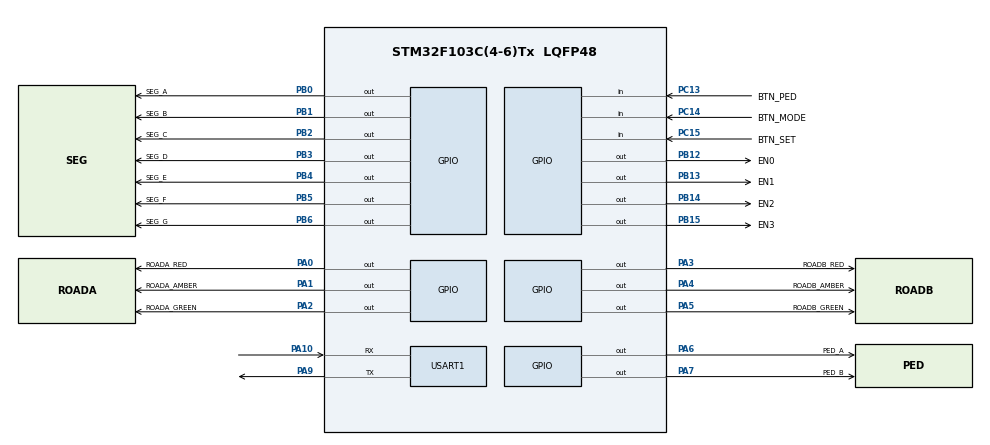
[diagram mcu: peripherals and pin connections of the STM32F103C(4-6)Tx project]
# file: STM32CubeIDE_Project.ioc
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Mcu.Family=STM32F1
Mcu.Name=STM32F103C(4-6)Tx
Mcu.Package=LQFP48
NVIC.PriorityGroup=NVIC_PRIORITYGROUP_4
NVIC.TIM2_IRQn=true\:0\:0\:false\:false\:true\:true\:true\:true
NVIC.USART1_IRQn=true\:0\:0\:false\:false\:true\:true\:true\:true
PA0-WKUP.GPIO_Label=ROADA_RED
PA0-WKUP.Signal=GPIO_Output
PA1.GPIO_Label=ROADA_AMBER
PA1.Signal=GPIO_Output
PA10.Mode=Asynchronous
PA10.Signal=USART1_RX
PA2.GPIO_Label=ROADA_GREEN
PA2.Signal=GPIO_Output
PA3.GPIO_Label=ROADB_RED
PA3.Signal=GPIO_Output
PA4.GPIO_Label=ROADB_AMBER
PA4.Signal=GPIO_Output
PA5.GPIO_Label=ROADB_GREEN
PA5.Signal=GPIO_Output
PA6.GPIO_Label=PED_A
PA6.Signal=GPIO_Output
PA7.GPIO_Label=PED_B
PA7.Signal=GPIO_Output
PA9.Mode=Asynchronous
PA9.Signal=USART1_TX
PB0.GPIO_Label=SEG_A
PB0.PinState=GPIO_PIN_SET
PB0.Signal=GPIO_Output
PB1.GPIO_Label=SEG_B
PB1.PinState=GPIO_PIN_SET
PB1.Signal=GPIO_Output
PB12.GPIO_Label=EN0
PB12.PinState=GPIO_PIN_SET
PB12.Signal=GPIO_Output
PB13.GPIO_Label=EN1
PB13.PinState=GPIO_PIN_SET
PB13.Signal=GPIO_Output
PB14.GPIO_Label=EN2
PB14.PinState=GPIO_PIN_SET
PB14.Signal=GPIO_Output
PB15.GPIO_Label=EN3
PB15.PinState=GPIO_PIN_SET
PB15.Signal=GPIO_Output
PB2.GPIO_Label=SEG_C
PB2.PinState=GPIO_PIN_SET
PB2.Signal=GPIO_Output
PB3.GPIO_Label=SEG_D
PB3.PinState=GPIO_PIN_SET
PB3.Signal=GPIO_Output
PB4.GPIO_Label=SEG_E
PB4.PinState=GPIO_PIN_SET
PB4.Signal=GPIO_Output
PB5.GPIO_Label=SEG_F
PB5.PinState=GPIO_PIN_SET
PB5.Signal=GPIO_Output
PB6.GPIO_Label=SEG_G
PB6.PinState=GPIO_PIN_SET
PB6.Signal=GPIO_Output
PC13-TAMPER-RTC.GPIO_Label=BTN_PED
PC13-TAMPER-RTC.GPIO_PuPd=GPIO_PULLUP
PC13-TAMPER-RTC.Signal=GPIO_Input
PC14-OSC32_IN.GPIO_Label=BTN_MODE
PC14-OSC32_IN.GPIO_PuPd=GPIO_PULLUP
PC14-OSC32_IN.Signal=GPIO_Input
PC15-OSC32_OUT.GPIO_Label=BTN_SET
PC15-OSC32_OUT.GPIO_PuPd=GPIO_PULLUP
PC15-OSC32_OUT.Signal=GPIO_Input
ProjectManager.HeapSize=0x200
ProjectManager.StackSize=0x400
ProjectManager.TargetToolchain=STM32CubeIDE
RCC.APB1Freq_Value=8000000
RCC.APB2Freq_Value=8000000
TIM2.Prescaler=7999
USART1.VirtualMode=VM_ASYNC
VP_SYS_VS_ND.Mode=No_Debug
VP_TIM2_VS_ClockSourceINT.Mode=Internal
board=custom

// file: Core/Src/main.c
/* USER CODE BEGIN Header */
/**
  ******************************************************************************
  * @file           : main.c
  * @brief          : Main program body
  ******************************************************************************
  * @attention
  *
  * Copyright (c) 2026 STMicroelectronics.
  * All rights reserved.
  *
  * This software is licensed under terms that can be found in the LICENSE file
  * in the root directory of this software component.
  * If no LICENSE file comes with this software, it is provided AS-IS.
  *
  ******************************************************************************
  */
/* USER CODE END Header */
#include "main.h"

/* USER CODE BEGIN Includes */
/* USER CODE BEGIN Includes */
#include "global.h"
#include "software_timer.h"
#include "led_display.h"
#include "input_reading.h"
#include "fsm_traffic.h"
#include "uart_comm.h"
/* USER CODE END Includes */
/* USER CODE END Includes */

TIM_HandleTypeDef htim2;

UART_HandleTypeDef huart1;

void SystemClock_Config(void);
static void MX_GPIO_Init(void);
static void MX_TIM2_Init(void);
static void MX_USART1_UART_Init(void);

int main(void)
{

  /* MCU Configuration--------------------------------------------------------*/

  /* Reset of all peripherals, Initializes the Flash interface and the Systick. */
  HAL_Init();

  /* Configure the system clock */
  SystemClock_Config();

  /* Initialize all configured peripherals */
  MX_GPIO_Init();
  MX_TIM2_Init();
  MX_USART1_UART_Init();
  /* USER CODE BEGIN 2 */
  	HAL_TIM_Base_Start_IT(&htim2);
    HAL_UART_Receive_IT(&huart2, &temp_rx, 1); // Hoặc &huart1 nếu cấu hình USART1 trên PA9/PA10
    setTimer(2, 250); // Khởi động timer quét LED 7 đoạn
  /* USER CODE END 2 */

  /* Infinite loop */
  /* USER CODE BEGIN WHILE */
  while (1)
  {
	  if (buffer_flag == 1) {
	            command_parser_fsm();
	            buffer_flag = 0;
	        }

	        fsm_for_mode();

	        if (systemMode == MODE_NORMAL) {
	            fsm_for_light_cycle();
	        }
    /* USER CODE END WHILE */

  }
}

void SystemClock_Config(void)
{
  RCC_OscInitTypeDef RCC_OscInitStruct = {0};
  RCC_ClkInitTypeDef RCC_ClkInitStruct = {0};

  /** Initializes the RCC Oscillators according to the specified parameters
  * in the RCC_OscInitTypeDef structure.
  */
  RCC_OscInitStruct.OscillatorType = RCC_OSCILLATORTYPE_HSI;
  RCC_OscInitStruct.HSIState = RCC_HSI_ON;
  RCC_OscInitStruct.HSICalibrationValue = RCC_HSICALIBRATION_DEFAULT;
  RCC_OscInitStruct.PLL.PLLState = RCC_PLL_NONE;
  if (HAL_RCC_OscConfig(&RCC_OscInitStruct) != HAL_OK)
  {
    Error_Handler();
  }

  /** Initializes the CPU, AHB and APB buses clocks
  */
  RCC_ClkInitStruct.ClockType = RCC_CLOCKTYPE_HCLK|RCC_CLOCKTYPE_SYSCLK
                              |RCC_CLOCKTYPE_PCLK1|RCC_CLOCKTYPE_PCLK2;
  RCC_ClkInitStruct.SYSCLKSource = RCC_SYSCLKSOURCE_HSI;
  RCC_ClkInitStruct.AHBCLKDivider = RCC_SYSCLK_DIV1;
  RCC_ClkInitStruct.APB1CLKDivider = RCC_HCLK_DIV1;
  RCC_ClkInitStruct.APB2CLKDivider = RCC_HCLK_DIV1;

  if (HAL_RCC_ClockConfig(&RCC_ClkInitStruct, FLASH_LATENCY_0) != HAL_OK)
  {
    Error_Handler();
  }
}

static void MX_TIM2_Init(void)
{

  TIM_ClockConfigTypeDef sClockSourceConfig = {0};
  TIM_MasterConfigTypeDef sMasterConfig = {0};

  htim2.Instance = TIM2;
  htim2.Init.Prescaler = 7999;
  htim2.Init.CounterMode = TIM_COUNTERMODE_UP;
  htim2.Init.Period = 65535;
  htim2.Init.ClockDivision = TIM_CLOCKDIVISION_DIV1;
  htim2.Init.AutoReloadPreload = TIM_AUTORELOAD_PRELOAD_DISABLE;
  if (HAL_TIM_Base_Init(&htim2) != HAL_OK)
  {
    Error_Handler();
  }
  sClockSourceConfig.ClockSource = TIM_CLOCKSOURCE_INTERNAL;
  if (HAL_TIM_ConfigClockSource(&htim2, &sClockSourceConfig) != HAL_OK)
  {
    Error_Handler();
  }
  sMasterConfig.MasterOutputTrigger = TIM_TRGO_RESET;
  sMasterConfig.MasterSlaveMode = TIM_MASTERSLAVEMODE_DISABLE;
  if (HAL_TIMEx_MasterConfigSynchronization(&htim2, &sMasterConfig) != HAL_OK)
  {
    Error_Handler();
  }

}

static void MX_USART1_UART_Init(void)
{

  huart1.Instance = USART1;
  huart1.Init.BaudRate = 115200;
  huart1.Init.WordLength = UART_WORDLENGTH_8B;
  huart1.Init.StopBits = UART_STOPBITS_1;
  huart1.Init.Parity = UART_PARITY_NONE;
  huart1.Init.Mode = UART_MODE_TX_RX;
  huart1.Init.HwFlowCtl = UART_HWCONTROL_NONE;
  huart1.Init.OverSampling = UART_OVERSAMPLING_16;
  if (HAL_UART_Init(&huart1) != HAL_OK)
  {
    Error_Handler();
  }

}

static void MX_GPIO_Init(void)
{
  GPIO_InitTypeDef GPIO_InitStruct = {0};

  /* GPIO Ports Clock Enable */
  __HAL_RCC_GPIOC_CLK_ENABLE();
  __HAL_RCC_GPIOA_CLK_ENABLE();
  __HAL_RCC_GPIOB_CLK_ENABLE();

  /*Configure GPIO pin Output Level */
  HAL_GPIO_WritePin(GPIOA, ROADA_RED_Pin|ROADA_AMBER_Pin|ROADA_GREEN_Pin|ROADB_RED_Pin
                          |ROADB_AMBER_Pin|ROADB_GREEN_Pin|PED_A_Pin|PED_B_Pin, GPIO_PIN_RESET);

  /*Configure GPIO pin Output Level */
  HAL_GPIO_WritePin(GPIOB, SEG_A_Pin|SEG_B_Pin|SEG_C_Pin|EN0_Pin
                          |EN1_Pin|EN2_Pin|EN3_Pin|SEG_D_Pin
                          |SEG_E_Pin|SEG_F_Pin|SEG_G_Pin, GPIO_PIN_SET);

  /*Configure GPIO pins : BTN_PED_Pin BTN_MODE_Pin BTN_SET_Pin */
  GPIO_InitStruct.Pin = BTN_PED_Pin|BTN_MODE_Pin|BTN_SET_Pin;
  GPIO_InitStruct.Mode = GPIO_MODE_INPUT;
  GPIO_InitStruct.Pull = GPIO_PULLUP;
  HAL_GPIO_Init(GPIOC, &GPIO_InitStruct);

  /*Configure GPIO pins : ROADA_RED_Pin ROADA_AMBER_Pin ROADA_GREEN_Pin ROADB_RED_Pin
                           ROADB_AMBER_Pin ROADB_GREEN_Pin PED_A_Pin PED_B_Pin */
  GPIO_InitStruct.Pin = ROADA_RED_Pin|ROADA_AMBER_Pin|ROADA_GREEN_Pin|ROADB_RED_Pin
                          |ROADB_AMBER_Pin|ROADB_GREEN_Pin|PED_A_Pin|PED_B_Pin;
  GPIO_InitStruct.Mode = GPIO_MODE_OUTPUT_PP;
  GPIO_InitStruct.Pull = GPIO_NOPULL;
  GPIO_InitStruct.Speed = GPIO_SPEED_FREQ_LOW;
  HAL_GPIO_Init(GPIOA, &GPIO_InitStruct);

  /*Configure GPIO pins : SEG_A_Pin SEG_B_Pin SEG_C_Pin EN0_Pin
                           EN1_Pin EN2_Pin EN3_Pin SEG_D_Pin
                           SEG_E_Pin SEG_F_Pin SEG_G_Pin */
  GPIO_InitStruct.Pin = SEG_A_Pin|SEG_B_Pin|SEG_C_Pin|EN0_Pin
                          |EN1_Pin|EN2_Pin|EN3_Pin|SEG_D_Pin
                          |SEG_E_Pin|SEG_F_Pin|SEG_G_Pin;
  GPIO_InitStruct.Mode = GPIO_MODE_OUTPUT_PP;
  GPIO_InitStruct.Pull = GPIO_NOPULL;
  GPIO_InitStruct.Speed = GPIO_SPEED_FREQ_LOW;
  HAL_GPIO_Init(GPIOB, &GPIO_InitStruct);

}

/* USER CODE BEGIN 4 */
static int index_led = 0;

void HAL_TIM_PeriodElapsedCallback(TIM_HandleTypeDef *htim) {
    if (htim->Instance == TIM2) {
        timer_run();
        button_reading();

        // Quét 4 LED 7 đoạn định kỳ bằng Timer 2 (mỗi 50ms -> 200ms/chu kỳ 4 LED)
        if (timer_flag[2] == 1) {
            setTimer(2, 50);
            if (systemMode == MODE_NORMAL) {
                update7SEG(index_led++);
                if (index_led >= 4) index_led = 0;
            } else if (systemMode == MODE_NIGHT) {
                clearAll7SEG();
            }
        }
    }
}

void HAL_UART_RxCpltCallback(UART_HandleTypeDef *huart) {
    if (huart->Instance == USART1 || huart->Instance == USART2) {
        uart_rx_enqueue(temp_rx);
        HAL_UART_Receive_IT(huart, &temp_rx, 1);
    }
}
/* USER CODE END 4 */

void Error_Handler(void)
{
  __disable_irq();
  while (1)
  {
  }
}
